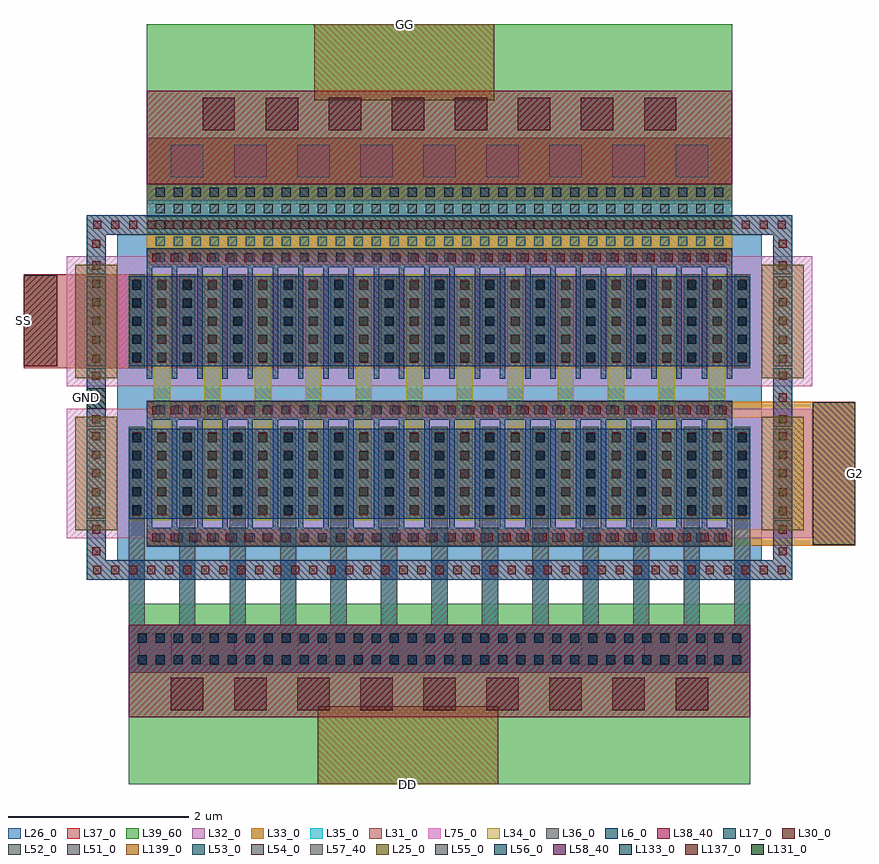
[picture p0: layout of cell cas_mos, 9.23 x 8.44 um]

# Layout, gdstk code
import gdstk
lib = gdstk.Library(unit=1e-6, precision=1e-09)
def R(c, l, rs):  # rectangles x0, y0, x1, y1
    for r in rs: c.add(gdstk.rectangle(r[:2], r[2:], *l))
def A(c, l, x, y, w, h, nx, ny, dx, dy):  # array of equal rectangles
    R(c, l, [(x+i*dx, y+j*dy, x+i*dx+w, y+j*dy+h) for i in range(nx) for j in range(ny)])
L6_0 = (6, 0)
L17_0 = (17, 0)
L25_0 = (25, 0)
L26_0 = (26, 0)
L30_0 = (30, 0)
L31_0 = (31, 0)
L32_0 = (32, 0)
L33_0 = (33, 0)
L34_0 = (34, 0)
L35_0 = (35, 0)
L36_0 = (36, 0)
L37_0 = (37, 0)
L38_40 = (38, 40)
L39_60 = (39, 60)
L51_0 = (51, 0)
L52_0 = (52, 0)
L53_0 = (53, 0)
L54_0 = (54, 0)
L55_0 = (55, 0)
L56_0 = (56, 0)
L57_40 = (57, 40)
L58_40 = (58, 40)
L75_0 = (75, 0)
L131_0 = (131, 0)
L133_0 = (133, 0)
L137_0 = (137, 0)
L139_0 = (139, 0)

nch_cdns_757981134650 = lib.new_cell('nch_CDNS_757981134650')
R(nch_cdns_757981134650, L6_0, [(-0.665,0,-0.455,1), (-0.195,0,0,1), (0,0,0.06,1), (0.06,0,6.5,1), (6.5,0,6.695,1), (6.955,0,7.165,1)])
A(nch_cdns_757981134650, L17_0, 0, -0.14, 0.06, 0.14, 24, 1, 0.28, 0)
A(nch_cdns_757981134650, L17_0, 0, 0, 0.06, 1, 24, 1, 0.28, 0)
A(nch_cdns_757981134650, L17_0, 0, 1, 0.06, 0.1, 24, 1, 0.28, 0)
R(nch_cdns_757981134650, L17_0, [(0,1.1,6.5,1.31)])
R(nch_cdns_757981134650, L25_0, [(-0.795,-0.13,-0.325,1.13), (6.825,-0.13,7.295,1.13)])
R(nch_cdns_757981134650, L26_0, [(-0.325,-0.34,6.825,1.34), (-0.325,0.95,6.825,1.46)])
A(nch_cdns_757981134650, L30_0, -0.605, 0.04, 0.09, 0.09, 1, 3, 0, 0.21)
A(nch_cdns_757981134650, L30_0, -0.155, 0.04, 0.09, 0.09, 25, 3, 0.28, 0.21)
A(nch_cdns_757981134650, L30_0, 7.015, 0.04, 0.09, 0.09, 1, 3, 0, 0.21)
A(nch_cdns_757981134650, L30_0, -0.155, 0.665, 0.09, 0.09, 25, 2, 0.28, 0.205)
A(nch_cdns_757981134650, L30_0, 0.06, 1.16, 0.09, 0.09, 19, 1, 0.205, 0)
A(nch_cdns_757981134650, L30_0, 3.95, 1.16, 0.09, 0.09, 13, 1, 0.2, 0)
R(nch_cdns_757981134650, L30_0, [(-0.605,0.665,-0.515,0.755), (7.015,0.665,7.105,0.755), (-0.605,0.87,-0.515,0.96), (7.015,0.87,7.105,0.96)])
A(nch_cdns_757981134650, L31_0, -0.155, -0.02, 0.09, 1.04, 25, 1, 0.28, 0)
R(nch_cdns_757981134650, L75_0, [(-0.885,-0.22,7.385,1.22)])
nch_cdns_757981134650.add(gdstk.FlexPath([(0,1.205),(6.5,1.205)], 0.09, ends="flush", simple_path=True, layer=31, datatype=0))  # L31_0
nch_cdns_757981134650.add(gdstk.FlexPath([(7.06,-0.02),(7.06,1.02)], 0.21, ends="flush", simple_path=True, layer=31, datatype=0))  # L31_0
nch_cdns_757981134650.add(gdstk.FlexPath([(-0.56,-0.02),(-0.56,1.02)], 0.21, ends="flush", simple_path=True, layer=31, datatype=0))  # L31_0
nch_cdns_757981134650.add(gdstk.Label('& SerialNumber 000000', (0,0), layer=63, texttype=63))
nch_cdns_757981134650.add(gdstk.Label('& Distributor TSMC', (0,0), layer=63, texttype=63))
nch_cdns_757981134650.add(gdstk.Label('& Metric 1', (0,0), layer=63, texttype=63))
nch_cdns_757981134650.add(gdstk.Label('& PDK TechNode "CRN65LP"', (0,0), layer=63, texttype=63))
nch_cdns_757981134650.add(gdstk.Label('& Product    tsmcN65_PDK', (0,0), layer=63, texttype=63))
nch_cdns_757981134650.add(gdstk.Label('& Vendor     Taiwan Semiconductor manufacturing Corp.', (0,0), layer=63, texttype=63))
nch_cdns_757981134650.add(gdstk.Label('[@instanceName]', (0.03,0.5), layer=127, texttype=0))
nch_cdns_757981134650.add(gdstk.Label('nch\n24.0/0.06\n', (0,0), layer=127, texttype=0))
nch_cdns_757981134650.add(gdstk.Label('B', (7.06,0.5), layer=127, texttype=0))
nch_cdns_757981134650.add(gdstk.Label('B', (-0.56,0.5), layer=127, texttype=0))
nch_cdns_757981134650.add(gdstk.Label('D', (0.17,0.5), layer=127, texttype=0))
nch_cdns_757981134650.add(gdstk.Label('S', (0.45,0.5), layer=127, texttype=0))
nch_cdns_757981134650.add(gdstk.Label('D', (0.73,0.5), layer=127, texttype=0))
nch_cdns_757981134650.add(gdstk.Label('S', (1.01,0.5), layer=127, texttype=0))
nch_cdns_757981134650.add(gdstk.Label('D', (1.29,0.5), layer=127, texttype=0))
nch_cdns_757981134650.add(gdstk.Label('S', (1.57,0.5), layer=127, texttype=0))
nch_cdns_757981134650.add(gdstk.Label('D', (1.85,0.5), layer=127, texttype=0))
nch_cdns_757981134650.add(gdstk.Label('S', (2.13,0.5), layer=127, texttype=0))
nch_cdns_757981134650.add(gdstk.Label('D', (2.41,0.5), layer=127, texttype=0))
nch_cdns_757981134650.add(gdstk.Label('S', (2.69,0.5), layer=127, texttype=0))
nch_cdns_757981134650.add(gdstk.Label('D', (2.97,0.5), layer=127, texttype=0))
nch_cdns_757981134650.add(gdstk.Label('S', (3.25,0.5), layer=127, texttype=0))
nch_cdns_757981134650.add(gdstk.Label('D', (3.53,0.5), layer=127, texttype=0))
nch_cdns_757981134650.add(gdstk.Label('S', (3.81,0.5), layer=127, texttype=0))
nch_cdns_757981134650.add(gdstk.Label('D', (4.09,0.5), layer=127, texttype=0))
nch_cdns_757981134650.add(gdstk.Label('S', (4.37,0.5), layer=127, texttype=0))
nch_cdns_757981134650.add(gdstk.Label('D', (4.65,0.5), layer=127, texttype=0))
nch_cdns_757981134650.add(gdstk.Label('S', (4.93,0.5), layer=127, texttype=0))
nch_cdns_757981134650.add(gdstk.Label('D', (5.21,0.5), layer=127, texttype=0))
nch_cdns_757981134650.add(gdstk.Label('S', (5.49,0.5), layer=127, texttype=0))
nch_cdns_757981134650.add(gdstk.Label('D', (5.77,0.5), layer=127, texttype=0))
nch_cdns_757981134650.add(gdstk.Label('S', (6.05,0.5), layer=127, texttype=0))
nch_cdns_757981134650.add(gdstk.Label('D', (6.33,0.5), layer=127, texttype=0))
nch_cdns_757981134650.add(gdstk.Label('S', (6.61,0.5), layer=127, texttype=0))
nch_cdns_757981134650.add(gdstk.Label('S', (-0.11,0.5), layer=127, texttype=0))

nch_cdns_757981134651 = lib.new_cell('nch_CDNS_757981134651')
R(nch_cdns_757981134651, L6_0, [(-0.665,0,-0.455,1), (-0.195,0,0,1), (0,0,0.06,1), (0.06,0,6.5,1), (6.5,0,6.695,1), (6.955,0,7.165,1)])
A(nch_cdns_757981134651, L17_0, 0, -0.1, 0.06, 0.1, 24, 2, 0.28, 1.1)
A(nch_cdns_757981134651, L17_0, 0, 0, 0.06, 1, 24, 1, 0.28, 0)
R(nch_cdns_757981134651, L17_0, [(0,-0.31,6.5,-0.1), (0,1.1,6.5,1.31)])
R(nch_cdns_757981134651, L25_0, [(-0.795,-0.13,-0.325,1.13), (6.825,-0.13,7.295,1.13)])
R(nch_cdns_757981134651, L26_0, [(-0.325,-0.46,6.825,0.05), (-0.325,-0.34,6.825,1.34), (-0.325,0.95,6.825,1.46)])
A(nch_cdns_757981134651, L30_0, 0.06, -0.25, 0.09, 0.09, 19, 2, 0.205, 1.41)
A(nch_cdns_757981134651, L30_0, 3.95, -0.25, 0.09, 0.09, 13, 2, 0.2, 1.41)
A(nch_cdns_757981134651, L30_0, -0.605, 0.04, 0.09, 0.09, 1, 3, 0, 0.21)
A(nch_cdns_757981134651, L30_0, -0.155, 0.04, 0.09, 0.09, 25, 3, 0.28, 0.21)
A(nch_cdns_757981134651, L30_0, 7.015, 0.04, 0.09, 0.09, 1, 3, 0, 0.21)
A(nch_cdns_757981134651, L30_0, -0.155, 0.665, 0.09, 0.09, 25, 2, 0.28, 0.205)
R(nch_cdns_757981134651, L30_0, [(-0.605,0.665,-0.515,0.755), (7.015,0.665,7.105,0.755), (-0.605,0.87,-0.515,0.96), (7.015,0.87,7.105,0.96)])
A(nch_cdns_757981134651, L31_0, -0.155, -0.02, 0.09, 1.04, 25, 1, 0.28, 0)
R(nch_cdns_757981134651, L75_0, [(-0.885,-0.22,7.385,1.22)])
nch_cdns_757981134651.add(gdstk.FlexPath([(0,-0.205),(6.5,-0.205)], 0.09, ends="flush", simple_path=True, layer=31, datatype=0))  # L31_0
nch_cdns_757981134651.add(gdstk.FlexPath([(0,1.205),(6.5,1.205)], 0.09, ends="flush", simple_path=True, layer=31, datatype=0))  # L31_0
nch_cdns_757981134651.add(gdstk.FlexPath([(7.06,-0.02),(7.06,1.02)], 0.21, ends="flush", simple_path=True, layer=31, datatype=0))  # L31_0
nch_cdns_757981134651.add(gdstk.FlexPath([(-0.56,-0.02),(-0.56,1.02)], 0.21, ends="flush", simple_path=True, layer=31, datatype=0))  # L31_0
nch_cdns_757981134651.add(gdstk.Label('& SerialNumber 000000', (0,0), layer=63, texttype=63))
nch_cdns_757981134651.add(gdstk.Label('& Distributor TSMC', (0,0), layer=63, texttype=63))
nch_cdns_757981134651.add(gdstk.Label('& Metric 1', (0,0), layer=63, texttype=63))
nch_cdns_757981134651.add(gdstk.Label('& PDK TechNode "CRN65LP"', (0,0), layer=63, texttype=63))
nch_cdns_757981134651.add(gdstk.Label('& Product    tsmcN65_PDK', (0,0), layer=63, texttype=63))
nch_cdns_757981134651.add(gdstk.Label('& Vendor     Taiwan Semiconductor manufacturing Corp.', (0,0), layer=63, texttype=63))
nch_cdns_757981134651.add(gdstk.Label('[@instanceName]', (0.03,0.5), layer=127, texttype=0))
nch_cdns_757981134651.add(gdstk.Label('nch\n24.0/0.06\n', (0,0), layer=127, texttype=0))
nch_cdns_757981134651.add(gdstk.Label('B', (7.06,0.5), layer=127, texttype=0))
nch_cdns_757981134651.add(gdstk.Label('B', (-0.56,0.5), layer=127, texttype=0))
nch_cdns_757981134651.add(gdstk.Label('S', (0.17,0.5), layer=127, texttype=0))
nch_cdns_757981134651.add(gdstk.Label('D', (0.45,0.5), layer=127, texttype=0))
nch_cdns_757981134651.add(gdstk.Label('S', (0.73,0.5), layer=127, texttype=0))
nch_cdns_757981134651.add(gdstk.Label('D', (1.01,0.5), layer=127, texttype=0))
nch_cdns_757981134651.add(gdstk.Label('S', (1.29,0.5), layer=127, texttype=0))
nch_cdns_757981134651.add(gdstk.Label('D', (1.57,0.5), layer=127, texttype=0))
nch_cdns_757981134651.add(gdstk.Label('S', (1.85,0.5), layer=127, texttype=0))
nch_cdns_757981134651.add(gdstk.Label('D', (2.13,0.5), layer=127, texttype=0))
nch_cdns_757981134651.add(gdstk.Label('S', (2.41,0.5), layer=127, texttype=0))
nch_cdns_757981134651.add(gdstk.Label('D', (2.69,0.5), layer=127, texttype=0))
nch_cdns_757981134651.add(gdstk.Label('S', (2.97,0.5), layer=127, texttype=0))
nch_cdns_757981134651.add(gdstk.Label('D', (3.25,0.5), layer=127, texttype=0))
nch_cdns_757981134651.add(gdstk.Label('S', (3.53,0.5), layer=127, texttype=0))
nch_cdns_757981134651.add(gdstk.Label('D', (3.81,0.5), layer=127, texttype=0))
nch_cdns_757981134651.add(gdstk.Label('S', (4.09,0.5), layer=127, texttype=0))
nch_cdns_757981134651.add(gdstk.Label('D', (4.37,0.5), layer=127, texttype=0))
nch_cdns_757981134651.add(gdstk.Label('S', (4.65,0.5), layer=127, texttype=0))
nch_cdns_757981134651.add(gdstk.Label('D', (4.93,0.5), layer=127, texttype=0))
nch_cdns_757981134651.add(gdstk.Label('S', (5.21,0.5), layer=127, texttype=0))
nch_cdns_757981134651.add(gdstk.Label('D', (5.49,0.5), layer=127, texttype=0))
nch_cdns_757981134651.add(gdstk.Label('S', (5.77,0.5), layer=127, texttype=0))
nch_cdns_757981134651.add(gdstk.Label('D', (6.05,0.5), layer=127, texttype=0))
nch_cdns_757981134651.add(gdstk.Label('S', (6.33,0.5), layer=127, texttype=0))
nch_cdns_757981134651.add(gdstk.Label('D', (6.61,0.5), layer=127, texttype=0))
nch_cdns_757981134651.add(gdstk.Label('D', (-0.11,0.5), layer=127, texttype=0))

m3_m2_cdns_757981134650 = lib.new_cell('M3_M2_CDNS_757981134650')
R(m3_m2_cdns_757981134650, L32_0, [(-3.25,-0.09,3.25,0.09)])
R(m3_m2_cdns_757981134650, L33_0, [(-3.25,-0.09,3.25,0.09)])
A(m3_m2_cdns_757981134650, L52_0, -3.15, -0.05, 0.1, 0.1, 32, 1, 0.2, 0)

m2_m1_cdns_757981134651 = lib.new_cell('M2_M1_CDNS_757981134651')
R(m2_m1_cdns_757981134651, L31_0, [(-3.25,-0.09,3.25,0.09)])
R(m2_m1_cdns_757981134651, L32_0, [(-3.25,-0.09,3.25,0.09)])
A(m2_m1_cdns_757981134651, L51_0, -3.15, -0.05, 0.1, 0.1, 32, 1, 0.2, 0)

m6_m5_cdns_757981134652 = lib.new_cell('M6_M5_CDNS_757981134652')
R(m6_m5_cdns_757981134652, L35_0, [(-3.45,-0.265,3.45,0.265)])
R(m6_m5_cdns_757981134652, L36_0, [(-3.45,-0.265,3.45,0.265)])
A(m6_m5_cdns_757981134652, L55_0, -3.35, -0.17, 0.1, 0.1, 34, 2, 0.2, 0.24)

m7_m6_cdns_757981134653 = lib.new_cell('M7_M6_CDNS_757981134653')
R(m7_m6_cdns_757981134653, L36_0, [(-0.09,-0.52,0.09,0.52)])
R(m7_m6_cdns_757981134653, L37_0, [(-0.09,-0.52,0.09,0.52)])
A(m7_m6_cdns_757981134653, L56_0, -0.05, -0.45, 0.1, 0.1, 1, 5, 0, 0.2)

m8_m7_cdns_757981134654 = lib.new_cell('M8_M7_CDNS_757981134654')
R(m8_m7_cdns_757981134654, L37_0, [(-3.25,-0.26,3.25,0.26)])
R(m8_m7_cdns_757981134654, L38_40, [(-3.25,-0.26,3.25,0.26)])
A(m8_m7_cdns_757981134654, L57_40, -2.98, -0.18, 0.36, 0.36, 9, 1, 0.7, 0)

m6_m5_cdns_757981134655 = lib.new_cell('M6_M5_CDNS_757981134655')
R(m6_m5_cdns_757981134655, L35_0, [(-3.25,-0.09,3.25,0.09)])
R(m6_m5_cdns_757981134655, L36_0, [(-3.25,-0.09,3.25,0.09)])
A(m6_m5_cdns_757981134655, L55_0, -3.15, -0.05, 0.1, 0.1, 32, 1, 0.2, 0)

m4_m3_cdns_757981134656 = lib.new_cell('M4_M3_CDNS_757981134656')
R(m4_m3_cdns_757981134656, L33_0, [(-3.25,-0.09,3.25,0.09)])
R(m4_m3_cdns_757981134656, L34_0, [(-3.25,-0.09,3.25,0.09)])
A(m4_m3_cdns_757981134656, L53_0, -3.15, -0.05, 0.1, 0.1, 32, 1, 0.2, 0)

m9_m8_cdns_757981134657 = lib.new_cell('M9_M8_CDNS_757981134657')
R(m9_m8_cdns_757981134657, L38_40, [(-3.25,-0.26,3.25,0.26)])
R(m9_m8_cdns_757981134657, L39_60, [(-3.25,-1,3.25,1)])
A(m9_m8_cdns_757981134657, L58_40, -2.63, -0.18, 0.36, 0.36, 8, 1, 0.7, 0)

m1_od_cdns_757981134658 = lib.new_cell('M1_OD_CDNS_757981134658')
R(m1_od_cdns_757981134658, L6_0, [(-0.105,-0.325,0.105,0.325)])
A(m1_od_cdns_757981134658, L30_0, -0.045, -0.285, 0.09, 0.09, 1, 3, 0, 0.24)
R(m1_od_cdns_757981134658, L31_0, [(-0.105,-0.325,0.105,0.325)])

m7_m6_cdns_757981134659 = lib.new_cell('M7_M6_CDNS_757981134659')
R(m7_m6_cdns_757981134659, L36_0, [(-3.45,-0.265,3.45,0.265)])
R(m7_m6_cdns_757981134659, L37_0, [(-3.45,-0.265,3.45,0.265)])
A(m7_m6_cdns_757981134659, L56_0, -3.35, -0.17, 0.1, 0.1, 34, 2, 0.2, 0.24)

m1_od_cdns_7579811346510 = lib.new_cell('M1_OD_CDNS_7579811346510')
R(m1_od_cdns_7579811346510, L6_0, [(-0.105,-0.22,0.105,0.22)])
R(m1_od_cdns_7579811346510, L30_0, [(-0.045,-0.165,0.045,-0.075), (-0.045,0.075,0.045,0.165)])
R(m1_od_cdns_7579811346510, L31_0, [(-0.105,-0.22,0.105,0.22)])

m9_m8_cdns_7579811346511 = lib.new_cell('M9_M8_CDNS_7579811346511')
R(m9_m8_cdns_7579811346511, L38_40, [(-3.45,-0.26,3.45,0.26)])
R(m9_m8_cdns_7579811346511, L39_60, [(-3.45,-1,3.45,1)])
A(m9_m8_cdns_7579811346511, L58_40, -2.98, -0.18, 0.36, 0.36, 9, 1, 0.7, 0)

m5_m4_cdns_7579811346512 = lib.new_cell('M5_M4_CDNS_7579811346512')
R(m5_m4_cdns_7579811346512, L34_0, [(-3.25,-0.09,3.25,0.09)])
R(m5_m4_cdns_7579811346512, L35_0, [(-3.25,-0.09,3.25,0.09)])
A(m5_m4_cdns_7579811346512, L54_0, -3.15, -0.05, 0.1, 0.1, 32, 1, 0.2, 0)

m7_m6_cdns_7579811346513 = lib.new_cell('M7_M6_CDNS_7579811346513')
R(m7_m6_cdns_7579811346513, L36_0, [(-3.25,-0.09,3.25,0.09)])
R(m7_m6_cdns_7579811346513, L37_0, [(-3.25,-0.09,3.25,0.09)])
A(m7_m6_cdns_7579811346513, L56_0, -3.15, -0.05, 0.1, 0.1, 32, 1, 0.2, 0)

m8_m7_cdns_7579811346514 = lib.new_cell('M8_M7_CDNS_7579811346514')
R(m8_m7_cdns_7579811346514, L37_0, [(-3.45,-0.265,3.45,0.265)])
R(m8_m7_cdns_7579811346514, L38_40, [(-3.45,-0.265,3.45,0.265)])
A(m8_m7_cdns_7579811346514, L57_40, -3.33, -0.18, 0.36, 0.36, 10, 1, 0.7, 0)

m1_od_cdns_7579811346515 = lib.new_cell('M1_OD_CDNS_7579811346515')
R(m1_od_cdns_7579811346515, L6_0, [(-3.915,-0.11,3.915,0.11)])
A(m1_od_cdns_7579811346515, L30_0, -3.845, -0.045, 0.09, 0.09, 39, 1, 0.2, 0)
R(m1_od_cdns_7579811346515, L31_0, [(-3.915,-0.11,3.915,0.11)])

m6_m5_cdns_7579811346516 = lib.new_cell('M6_M5_CDNS_7579811346516')
R(m6_m5_cdns_7579811346516, L35_0, [(-0.09,-0.52,0.09,0.52)])
R(m6_m5_cdns_7579811346516, L36_0, [(-0.09,-0.52,0.09,0.52)])
A(m6_m5_cdns_7579811346516, L55_0, -0.05, -0.45, 0.1, 0.1, 1, 5, 0, 0.2)

m5_m4_cdns_7579811346517 = lib.new_cell('M5_M4_CDNS_7579811346517')
R(m5_m4_cdns_7579811346517, L34_0, [(-0.09,-0.52,0.09,0.52)])
R(m5_m4_cdns_7579811346517, L35_0, [(-0.09,-0.52,0.09,0.52)])
A(m5_m4_cdns_7579811346517, L54_0, -0.05, -0.45, 0.1, 0.1, 1, 5, 0, 0.2)

m4_m3_cdns_7579811346518 = lib.new_cell('M4_M3_CDNS_7579811346518')
R(m4_m3_cdns_7579811346518, L33_0, [(-0.09,-0.52,0.09,0.52)])
R(m4_m3_cdns_7579811346518, L34_0, [(-0.09,-0.52,0.09,0.52)])
A(m4_m3_cdns_7579811346518, L53_0, -0.05, -0.45, 0.1, 0.1, 1, 5, 0, 0.2)

m3_m2_cdns_7579811346519 = lib.new_cell('M3_M2_CDNS_7579811346519')
R(m3_m2_cdns_7579811346519, L32_0, [(-0.09,-0.52,0.09,0.52)])
R(m3_m2_cdns_7579811346519, L33_0, [(-0.09,-0.52,0.09,0.52)])
A(m3_m2_cdns_7579811346519, L52_0, -0.05, -0.45, 0.1, 0.1, 1, 5, 0, 0.2)

m2_m1_cdns_7579811346520 = lib.new_cell('M2_M1_CDNS_7579811346520')
R(m2_m1_cdns_7579811346520, L31_0, [(-0.09,-0.52,0.09,0.52)])
R(m2_m1_cdns_7579811346520, L32_0, [(-0.09,-0.52,0.09,0.52)])
A(m2_m1_cdns_7579811346520, L51_0, -0.05, -0.45, 0.1, 0.1, 1, 5, 0, 0.2)

cas_mos = lib.new_cell('cas_mos')
R(cas_mos, L33_0, [(7.855,2.645,8.545,2.825), (8.318,2.645,9.23,4.245), (7.855,4.065,8.545,4.245)])
A(cas_mos, L34_0, 1.445, 3.915, 0.18, 0.7, 12, 1, 0.56, 0)
A(cas_mos, L35_0, 1.165, 1.765, 0.18, 1.16, 13, 1, 0.56, 0)
A(cas_mos, L35_0, 1.445, 3.915, 0.18, 0.7, 12, 1, 0.56, 0)
A(cas_mos, L36_0, 1.165, 1.765, 0.18, 1.16, 13, 1, 0.56, 0)
A(cas_mos, L37_0, 1.165, 1.765, 0.18, 1.16, 13, 1, 0.56, 0)
R(cas_mos, L37_0, [(0,4.615,8.065,5.655)])
R(cas_mos, L131_0, [(0.7,4.165,0.91,4.395)])
R(cas_mos, L133_0, [(8.76,2.655,9.23,4.235)])
R(cas_mos, L137_0, [(0,4.635,0.37,5.645)])
R(cas_mos, L139_0, [(3.265,0,5.265,0.865), (3.225,7.59,5.225,8.43)])
cas_mos.add(gdstk.Reference(nch_cdns_757981134650, (1.365,4.635)))
cas_mos.add(gdstk.Reference(nch_cdns_757981134651, (1.365,2.945)))
cas_mos.add(gdstk.Reference(m3_m2_cdns_757981134650, (4.615,5.845)))
cas_mos.add(gdstk.Reference(m3_m2_cdns_757981134650, (4.615,2.735)))
cas_mos.add(gdstk.Reference(m3_m2_cdns_757981134650, (4.615,4.155)))
cas_mos.add(gdstk.Reference(m2_m1_cdns_757981134651, (4.615,5.845)))
cas_mos.add(gdstk.Reference(m2_m1_cdns_757981134651, (4.615,2.735)))
cas_mos.add(gdstk.Reference(m2_m1_cdns_757981134651, (4.615,4.155)))
cas_mos.add(gdstk.Reference(m6_m5_cdns_757981134652, (4.615,1.5)))
cas_mos.add(gdstk.Reference(m7_m6_cdns_757981134653, (7.415,3.445)))
cas_mos.add(gdstk.Reference(m7_m6_cdns_757981134653, (6.855,3.445)))
cas_mos.add(gdstk.Reference(m7_m6_cdns_757981134653, (6.295,3.445)))
cas_mos.add(gdstk.Reference(m7_m6_cdns_757981134653, (5.735,3.445)))
cas_mos.add(gdstk.Reference(m7_m6_cdns_757981134653, (5.175,3.445)))
cas_mos.add(gdstk.Reference(m7_m6_cdns_757981134653, (4.615,3.445)))
cas_mos.add(gdstk.Reference(m7_m6_cdns_757981134653, (4.055,3.445)))
cas_mos.add(gdstk.Reference(m7_m6_cdns_757981134653, (3.495,3.445)))
cas_mos.add(gdstk.Reference(m7_m6_cdns_757981134653, (2.935,3.445)))
cas_mos.add(gdstk.Reference(m7_m6_cdns_757981134653, (2.375,3.445)))
cas_mos.add(gdstk.Reference(m7_m6_cdns_757981134653, (1.815,3.445)))
cas_mos.add(gdstk.Reference(m7_m6_cdns_757981134653, (7.975,3.445)))
cas_mos.add(gdstk.Reference(m7_m6_cdns_757981134653, (1.255,3.445)))
cas_mos.add(gdstk.Reference(m7_m6_cdns_757981134653, (7.975,5.135)))
cas_mos.add(gdstk.Reference(m7_m6_cdns_757981134653, (5.735,5.135)))
cas_mos.add(gdstk.Reference(m7_m6_cdns_757981134653, (6.295,5.135)))
cas_mos.add(gdstk.Reference(m7_m6_cdns_757981134653, (6.855,5.135)))
cas_mos.add(gdstk.Reference(m7_m6_cdns_757981134653, (7.415,5.135)))
cas_mos.add(gdstk.Reference(m7_m6_cdns_757981134653, (5.175,5.135)))
cas_mos.add(gdstk.Reference(m7_m6_cdns_757981134653, (4.615,5.135)))
cas_mos.add(gdstk.Reference(m7_m6_cdns_757981134653, (4.055,5.135)))
cas_mos.add(gdstk.Reference(m7_m6_cdns_757981134653, (3.495,5.135)))
cas_mos.add(gdstk.Reference(m7_m6_cdns_757981134653, (2.935,5.135)))
cas_mos.add(gdstk.Reference(m7_m6_cdns_757981134653, (2.375,5.135)))
cas_mos.add(gdstk.Reference(m7_m6_cdns_757981134653, (1.815,5.135)))
cas_mos.add(gdstk.Reference(m7_m6_cdns_757981134653, (1.255,5.135)))
cas_mos.add(gdstk.Reference(m8_m7_cdns_757981134654, (4.615,6.915)))
cas_mos.add(gdstk.Reference(m6_m5_cdns_757981134655, (4.615,6.385)))
cas_mos.add(gdstk.Reference(m4_m3_cdns_757981134656, (4.615,6.025)))
cas_mos.add(gdstk.Reference(m9_m8_cdns_757981134657, (4.615,7.435)))
cas_mos.add(gdstk.Reference(m1_od_cdns_757981134658, (8.425,4.29)))
cas_mos.add(gdstk.Reference(m1_od_cdns_757981134658, (0.805,4.29)))
cas_mos.add(gdstk.Reference(m7_m6_cdns_757981134659, (4.615,1.5)))
cas_mos.add(gdstk.Reference(m1_od_cdns_7579811346510, (8.425,2.705)))
cas_mos.add(gdstk.Reference(m1_od_cdns_7579811346510, (0.805,2.705)))
cas_mos.add(gdstk.Reference(m1_od_cdns_7579811346510, (0.805,5.875)))
cas_mos.add(gdstk.Reference(m1_od_cdns_7579811346510, (8.425,5.875)))
cas_mos.add(gdstk.Reference(m9_m8_cdns_7579811346511, (4.615,1)))
cas_mos.add(gdstk.Reference(m5_m4_cdns_7579811346512, (4.615,6.205)))
cas_mos.add(gdstk.Reference(m7_m6_cdns_7579811346513, (4.615,6.565)))
cas_mos.add(gdstk.Reference(m8_m7_cdns_7579811346514, (4.615,1.5)))
cas_mos.add(gdstk.Reference(m1_od_cdns_7579811346515, (4.615,6.205)))
cas_mos.add(gdstk.Reference(m1_od_cdns_7579811346515, (4.615,2.375)))
cas_mos.add(gdstk.Reference(m6_m5_cdns_7579811346516, (7.415,3.445)))
cas_mos.add(gdstk.Reference(m6_m5_cdns_7579811346516, (6.855,3.445)))
cas_mos.add(gdstk.Reference(m6_m5_cdns_7579811346516, (6.295,3.445)))
cas_mos.add(gdstk.Reference(m6_m5_cdns_7579811346516, (5.735,3.445)))
cas_mos.add(gdstk.Reference(m6_m5_cdns_7579811346516, (5.175,3.445)))
cas_mos.add(gdstk.Reference(m6_m5_cdns_7579811346516, (4.615,3.445)))
cas_mos.add(gdstk.Reference(m6_m5_cdns_7579811346516, (4.055,3.445)))
cas_mos.add(gdstk.Reference(m6_m5_cdns_7579811346516, (3.495,3.445)))
cas_mos.add(gdstk.Reference(m6_m5_cdns_7579811346516, (2.935,3.445)))
cas_mos.add(gdstk.Reference(m6_m5_cdns_7579811346516, (2.375,3.445)))
cas_mos.add(gdstk.Reference(m6_m5_cdns_7579811346516, (1.815,3.445)))
cas_mos.add(gdstk.Reference(m6_m5_cdns_7579811346516, (7.975,3.445)))
cas_mos.add(gdstk.Reference(m6_m5_cdns_7579811346516, (1.255,3.445)))
cas_mos.add(gdstk.Reference(m6_m5_cdns_7579811346516, (7.975,5.135)))
cas_mos.add(gdstk.Reference(m6_m5_cdns_7579811346516, (5.735,5.135)))
cas_mos.add(gdstk.Reference(m6_m5_cdns_7579811346516, (6.295,5.135)))
cas_mos.add(gdstk.Reference(m6_m5_cdns_7579811346516, (6.855,5.135)))
cas_mos.add(gdstk.Reference(m6_m5_cdns_7579811346516, (7.415,5.135)))
cas_mos.add(gdstk.Reference(m6_m5_cdns_7579811346516, (5.175,5.135)))
cas_mos.add(gdstk.Reference(m6_m5_cdns_7579811346516, (4.615,5.135)))
cas_mos.add(gdstk.Reference(m6_m5_cdns_7579811346516, (4.055,5.135)))
cas_mos.add(gdstk.Reference(m6_m5_cdns_7579811346516, (3.495,5.135)))
cas_mos.add(gdstk.Reference(m6_m5_cdns_7579811346516, (2.935,5.135)))
cas_mos.add(gdstk.Reference(m6_m5_cdns_7579811346516, (2.375,5.135)))
cas_mos.add(gdstk.Reference(m6_m5_cdns_7579811346516, (1.815,5.135)))
cas_mos.add(gdstk.Reference(m6_m5_cdns_7579811346516, (1.255,5.135)))
cas_mos.add(gdstk.Reference(m5_m4_cdns_7579811346517, (2.375,3.445)))
cas_mos.add(gdstk.Reference(m5_m4_cdns_7579811346517, (2.935,3.445)))
cas_mos.add(gdstk.Reference(m5_m4_cdns_7579811346517, (3.495,3.445)))
cas_mos.add(gdstk.Reference(m5_m4_cdns_7579811346517, (4.055,3.445)))
cas_mos.add(gdstk.Reference(m5_m4_cdns_7579811346517, (4.615,3.445)))
cas_mos.add(gdstk.Reference(m5_m4_cdns_7579811346517, (5.175,3.445)))
cas_mos.add(gdstk.Reference(m5_m4_cdns_7579811346517, (7.415,3.445)))
cas_mos.add(gdstk.Reference(m5_m4_cdns_7579811346517, (6.855,3.445)))
cas_mos.add(gdstk.Reference(m5_m4_cdns_7579811346517, (6.295,3.445)))
cas_mos.add(gdstk.Reference(m5_m4_cdns_7579811346517, (5.735,3.445)))
cas_mos.add(gdstk.Reference(m5_m4_cdns_7579811346517, (1.535,3.445)))
cas_mos.add(gdstk.Reference(m5_m4_cdns_7579811346517, (2.095,3.445)))
cas_mos.add(gdstk.Reference(m5_m4_cdns_7579811346517, (3.215,3.445)))
cas_mos.add(gdstk.Reference(m5_m4_cdns_7579811346517, (2.655,3.445)))
cas_mos.add(gdstk.Reference(m5_m4_cdns_7579811346517, (5.455,3.445)))
cas_mos.add(gdstk.Reference(m5_m4_cdns_7579811346517, (4.895,3.445)))
cas_mos.add(gdstk.Reference(m5_m4_cdns_7579811346517, (4.335,3.445)))
cas_mos.add(gdstk.Reference(m5_m4_cdns_7579811346517, (3.775,3.445)))
cas_mos.add(gdstk.Reference(m5_m4_cdns_7579811346517, (7.135,3.445)))
cas_mos.add(gdstk.Reference(m5_m4_cdns_7579811346517, (6.575,3.445)))
cas_mos.add(gdstk.Reference(m5_m4_cdns_7579811346517, (6.015,3.445)))
cas_mos.add(gdstk.Reference(m5_m4_cdns_7579811346517, (1.815,3.445)))
cas_mos.add(gdstk.Reference(m5_m4_cdns_7579811346517, (7.975,3.445)))
cas_mos.add(gdstk.Reference(m5_m4_cdns_7579811346517, (7.695,3.445)))
cas_mos.add(gdstk.Reference(m5_m4_cdns_7579811346517, (1.255,3.445)))
cas_mos.add(gdstk.Reference(m5_m4_cdns_7579811346517, (6.015,5.135)))
cas_mos.add(gdstk.Reference(m5_m4_cdns_7579811346517, (6.575,5.135)))
cas_mos.add(gdstk.Reference(m5_m4_cdns_7579811346517, (7.135,5.135)))
cas_mos.add(gdstk.Reference(m5_m4_cdns_7579811346517, (7.695,5.135)))
cas_mos.add(gdstk.Reference(m5_m4_cdns_7579811346517, (3.775,5.135)))
cas_mos.add(gdstk.Reference(m5_m4_cdns_7579811346517, (4.335,5.135)))
cas_mos.add(gdstk.Reference(m5_m4_cdns_7579811346517, (4.895,5.135)))
cas_mos.add(gdstk.Reference(m5_m4_cdns_7579811346517, (5.455,5.135)))
cas_mos.add(gdstk.Reference(m5_m4_cdns_7579811346517, (2.655,5.135)))
cas_mos.add(gdstk.Reference(m5_m4_cdns_7579811346517, (3.215,5.135)))
cas_mos.add(gdstk.Reference(m5_m4_cdns_7579811346517, (2.095,5.135)))
cas_mos.add(gdstk.Reference(m5_m4_cdns_7579811346517, (1.535,5.135)))
cas_mos.add(gdstk.Reference(m5_m4_cdns_7579811346517, (7.975,5.135)))
cas_mos.add(gdstk.Reference(m5_m4_cdns_7579811346517, (5.735,5.135)))
cas_mos.add(gdstk.Reference(m5_m4_cdns_7579811346517, (6.295,5.135)))
cas_mos.add(gdstk.Reference(m5_m4_cdns_7579811346517, (6.855,5.135)))
cas_mos.add(gdstk.Reference(m5_m4_cdns_7579811346517, (7.415,5.135)))
cas_mos.add(gdstk.Reference(m5_m4_cdns_7579811346517, (5.175,5.135)))
cas_mos.add(gdstk.Reference(m5_m4_cdns_7579811346517, (4.615,5.135)))
cas_mos.add(gdstk.Reference(m5_m4_cdns_7579811346517, (4.055,5.135)))
cas_mos.add(gdstk.Reference(m5_m4_cdns_7579811346517, (3.495,5.135)))
cas_mos.add(gdstk.Reference(m5_m4_cdns_7579811346517, (2.935,5.135)))
cas_mos.add(gdstk.Reference(m5_m4_cdns_7579811346517, (2.375,5.135)))
cas_mos.add(gdstk.Reference(m5_m4_cdns_7579811346517, (1.815,5.135)))
cas_mos.add(gdstk.Reference(m5_m4_cdns_7579811346517, (1.255,5.135)))
cas_mos.add(gdstk.Reference(m4_m3_cdns_7579811346518, (2.375,3.445)))
cas_mos.add(gdstk.Reference(m4_m3_cdns_7579811346518, (2.935,3.445)))
cas_mos.add(gdstk.Reference(m4_m3_cdns_7579811346518, (3.495,3.445)))
cas_mos.add(gdstk.Reference(m4_m3_cdns_7579811346518, (4.055,3.445)))
cas_mos.add(gdstk.Reference(m4_m3_cdns_7579811346518, (4.615,3.445)))
cas_mos.add(gdstk.Reference(m4_m3_cdns_7579811346518, (5.175,3.445)))
cas_mos.add(gdstk.Reference(m4_m3_cdns_7579811346518, (7.415,3.445)))
cas_mos.add(gdstk.Reference(m4_m3_cdns_7579811346518, (6.855,3.445)))
cas_mos.add(gdstk.Reference(m4_m3_cdns_7579811346518, (6.295,3.445)))
cas_mos.add(gdstk.Reference(m4_m3_cdns_7579811346518, (5.735,3.445)))
cas_mos.add(gdstk.Reference(m4_m3_cdns_7579811346518, (1.535,3.445)))
cas_mos.add(gdstk.Reference(m4_m3_cdns_7579811346518, (2.095,3.445)))
cas_mos.add(gdstk.Reference(m4_m3_cdns_7579811346518, (3.215,3.445)))
cas_mos.add(gdstk.Reference(m4_m3_cdns_7579811346518, (2.655,3.445)))
cas_mos.add(gdstk.Reference(m4_m3_cdns_7579811346518, (5.455,3.445)))
cas_mos.add(gdstk.Reference(m4_m3_cdns_7579811346518, (4.895,3.445)))
cas_mos.add(gdstk.Reference(m4_m3_cdns_7579811346518, (4.335,3.445)))
cas_mos.add(gdstk.Reference(m4_m3_cdns_7579811346518, (3.775,3.445)))
cas_mos.add(gdstk.Reference(m4_m3_cdns_7579811346518, (7.135,3.445)))
cas_mos.add(gdstk.Reference(m4_m3_cdns_7579811346518, (6.575,3.445)))
cas_mos.add(gdstk.Reference(m4_m3_cdns_7579811346518, (6.015,3.445)))
cas_mos.add(gdstk.Reference(m4_m3_cdns_7579811346518, (1.815,3.445)))
cas_mos.add(gdstk.Reference(m4_m3_cdns_7579811346518, (7.975,3.445)))
cas_mos.add(gdstk.Reference(m4_m3_cdns_7579811346518, (7.695,3.445)))
cas_mos.add(gdstk.Reference(m4_m3_cdns_7579811346518, (1.255,3.445)))
cas_mos.add(gdstk.Reference(m4_m3_cdns_7579811346518, (6.015,5.135)))
cas_mos.add(gdstk.Reference(m4_m3_cdns_7579811346518, (6.575,5.135)))
cas_mos.add(gdstk.Reference(m4_m3_cdns_7579811346518, (7.135,5.135)))
cas_mos.add(gdstk.Reference(m4_m3_cdns_7579811346518, (7.695,5.135)))
cas_mos.add(gdstk.Reference(m4_m3_cdns_7579811346518, (3.775,5.135)))
cas_mos.add(gdstk.Reference(m4_m3_cdns_7579811346518, (4.335,5.135)))
cas_mos.add(gdstk.Reference(m4_m3_cdns_7579811346518, (4.895,5.135)))
cas_mos.add(gdstk.Reference(m4_m3_cdns_7579811346518, (5.455,5.135)))
cas_mos.add(gdstk.Reference(m4_m3_cdns_7579811346518, (2.655,5.135)))
cas_mos.add(gdstk.Reference(m4_m3_cdns_7579811346518, (3.215,5.135)))
cas_mos.add(gdstk.Reference(m4_m3_cdns_7579811346518, (2.095,5.135)))
cas_mos.add(gdstk.Reference(m4_m3_cdns_7579811346518, (1.535,5.135)))
cas_mos.add(gdstk.Reference(m4_m3_cdns_7579811346518, (7.975,5.135)))
cas_mos.add(gdstk.Reference(m4_m3_cdns_7579811346518, (5.735,5.135)))
cas_mos.add(gdstk.Reference(m4_m3_cdns_7579811346518, (6.295,5.135)))
cas_mos.add(gdstk.Reference(m4_m3_cdns_7579811346518, (6.855,5.135)))
cas_mos.add(gdstk.Reference(m4_m3_cdns_7579811346518, (7.415,5.135)))
cas_mos.add(gdstk.Reference(m4_m3_cdns_7579811346518, (5.175,5.135)))
cas_mos.add(gdstk.Reference(m4_m3_cdns_7579811346518, (4.615,5.135)))
cas_mos.add(gdstk.Reference(m4_m3_cdns_7579811346518, (4.055,5.135)))
cas_mos.add(gdstk.Reference(m4_m3_cdns_7579811346518, (3.495,5.135)))
cas_mos.add(gdstk.Reference(m4_m3_cdns_7579811346518, (2.935,5.135)))
cas_mos.add(gdstk.Reference(m4_m3_cdns_7579811346518, (2.375,5.135)))
cas_mos.add(gdstk.Reference(m4_m3_cdns_7579811346518, (1.815,5.135)))
cas_mos.add(gdstk.Reference(m4_m3_cdns_7579811346518, (1.255,5.135)))
cas_mos.add(gdstk.Reference(m3_m2_cdns_7579811346519, (2.375,3.445)))
cas_mos.add(gdstk.Reference(m3_m2_cdns_7579811346519, (2.935,3.445)))
cas_mos.add(gdstk.Reference(m3_m2_cdns_7579811346519, (3.495,3.445)))
cas_mos.add(gdstk.Reference(m3_m2_cdns_7579811346519, (4.055,3.445)))
cas_mos.add(gdstk.Reference(m3_m2_cdns_7579811346519, (4.615,3.445)))
cas_mos.add(gdstk.Reference(m3_m2_cdns_7579811346519, (5.175,3.445)))
cas_mos.add(gdstk.Reference(m3_m2_cdns_7579811346519, (7.415,3.445)))
cas_mos.add(gdstk.Reference(m3_m2_cdns_7579811346519, (6.855,3.445)))
cas_mos.add(gdstk.Reference(m3_m2_cdns_7579811346519, (6.295,3.445)))
cas_mos.add(gdstk.Reference(m3_m2_cdns_7579811346519, (5.735,3.445)))
cas_mos.add(gdstk.Reference(m3_m2_cdns_7579811346519, (1.535,3.445)))
cas_mos.add(gdstk.Reference(m3_m2_cdns_7579811346519, (2.095,3.445)))
cas_mos.add(gdstk.Reference(m3_m2_cdns_7579811346519, (3.215,3.445)))
cas_mos.add(gdstk.Reference(m3_m2_cdns_7579811346519, (2.655,3.445)))
cas_mos.add(gdstk.Reference(m3_m2_cdns_7579811346519, (5.455,3.445)))
cas_mos.add(gdstk.Reference(m3_m2_cdns_7579811346519, (4.895,3.445)))
cas_mos.add(gdstk.Reference(m3_m2_cdns_7579811346519, (4.335,3.445)))
cas_mos.add(gdstk.Reference(m3_m2_cdns_7579811346519, (3.775,3.445)))
cas_mos.add(gdstk.Reference(m3_m2_cdns_7579811346519, (7.135,3.445)))
cas_mos.add(gdstk.Reference(m3_m2_cdns_7579811346519, (6.575,3.445)))
cas_mos.add(gdstk.Reference(m3_m2_cdns_7579811346519, (6.015,3.445)))
cas_mos.add(gdstk.Reference(m3_m2_cdns_7579811346519, (1.815,3.445)))
cas_mos.add(gdstk.Reference(m3_m2_cdns_7579811346519, (7.975,3.445)))
cas_mos.add(gdstk.Reference(m3_m2_cdns_7579811346519, (7.695,3.445)))
cas_mos.add(gdstk.Reference(m3_m2_cdns_7579811346519, (1.255,3.445)))
cas_mos.add(gdstk.Reference(m3_m2_cdns_7579811346519, (6.015,5.135)))
cas_mos.add(gdstk.Reference(m3_m2_cdns_7579811346519, (6.575,5.135)))
cas_mos.add(gdstk.Reference(m3_m2_cdns_7579811346519, (7.135,5.135)))
cas_mos.add(gdstk.Reference(m3_m2_cdns_7579811346519, (7.695,5.135)))
cas_mos.add(gdstk.Reference(m3_m2_cdns_7579811346519, (3.775,5.135)))
cas_mos.add(gdstk.Reference(m3_m2_cdns_7579811346519, (4.335,5.135)))
cas_mos.add(gdstk.Reference(m3_m2_cdns_7579811346519, (4.895,5.135)))
cas_mos.add(gdstk.Reference(m3_m2_cdns_7579811346519, (5.455,5.135)))
cas_mos.add(gdstk.Reference(m3_m2_cdns_7579811346519, (2.655,5.135)))
cas_mos.add(gdstk.Reference(m3_m2_cdns_7579811346519, (3.215,5.135)))
cas_mos.add(gdstk.Reference(m3_m2_cdns_7579811346519, (2.095,5.135)))
cas_mos.add(gdstk.Reference(m3_m2_cdns_7579811346519, (1.535,5.135)))
cas_mos.add(gdstk.Reference(m3_m2_cdns_7579811346519, (7.975,5.135)))
cas_mos.add(gdstk.Reference(m3_m2_cdns_7579811346519, (5.735,5.135)))
cas_mos.add(gdstk.Reference(m3_m2_cdns_7579811346519, (6.295,5.135)))
cas_mos.add(gdstk.Reference(m3_m2_cdns_7579811346519, (6.855,5.135)))
cas_mos.add(gdstk.Reference(m3_m2_cdns_7579811346519, (7.415,5.135)))
cas_mos.add(gdstk.Reference(m3_m2_cdns_7579811346519, (5.175,5.135)))
cas_mos.add(gdstk.Reference(m3_m2_cdns_7579811346519, (4.615,5.135)))
cas_mos.add(gdstk.Reference(m3_m2_cdns_7579811346519, (4.055,5.135)))
cas_mos.add(gdstk.Reference(m3_m2_cdns_7579811346519, (3.495,5.135)))
cas_mos.add(gdstk.Reference(m3_m2_cdns_7579811346519, (2.935,5.135)))
cas_mos.add(gdstk.Reference(m3_m2_cdns_7579811346519, (2.375,5.135)))
cas_mos.add(gdstk.Reference(m3_m2_cdns_7579811346519, (1.815,5.135)))
cas_mos.add(gdstk.Reference(m3_m2_cdns_7579811346519, (1.255,5.135)))
cas_mos.add(gdstk.Reference(m2_m1_cdns_7579811346520, (2.375,3.445)))
cas_mos.add(gdstk.Reference(m2_m1_cdns_7579811346520, (2.935,3.445)))
cas_mos.add(gdstk.Reference(m2_m1_cdns_7579811346520, (3.495,3.445)))
cas_mos.add(gdstk.Reference(m2_m1_cdns_7579811346520, (4.055,3.445)))
cas_mos.add(gdstk.Reference(m2_m1_cdns_7579811346520, (4.615,3.445)))
cas_mos.add(gdstk.Reference(m2_m1_cdns_7579811346520, (5.175,3.445)))
cas_mos.add(gdstk.Reference(m2_m1_cdns_7579811346520, (7.415,3.445)))
cas_mos.add(gdstk.Reference(m2_m1_cdns_7579811346520, (6.855,3.445)))
cas_mos.add(gdstk.Reference(m2_m1_cdns_7579811346520, (6.295,3.445)))
cas_mos.add(gdstk.Reference(m2_m1_cdns_7579811346520, (5.735,3.445)))
cas_mos.add(gdstk.Reference(m2_m1_cdns_7579811346520, (1.535,3.445)))
cas_mos.add(gdstk.Reference(m2_m1_cdns_7579811346520, (2.095,3.445)))
cas_mos.add(gdstk.Reference(m2_m1_cdns_7579811346520, (3.215,3.445)))
cas_mos.add(gdstk.Reference(m2_m1_cdns_7579811346520, (2.655,3.445)))
cas_mos.add(gdstk.Reference(m2_m1_cdns_7579811346520, (5.455,3.445)))
cas_mos.add(gdstk.Reference(m2_m1_cdns_7579811346520, (4.895,3.445)))
cas_mos.add(gdstk.Reference(m2_m1_cdns_7579811346520, (4.335,3.445)))
cas_mos.add(gdstk.Reference(m2_m1_cdns_7579811346520, (3.775,3.445)))
cas_mos.add(gdstk.Reference(m2_m1_cdns_7579811346520, (7.135,3.445)))
cas_mos.add(gdstk.Reference(m2_m1_cdns_7579811346520, (6.575,3.445)))
cas_mos.add(gdstk.Reference(m2_m1_cdns_7579811346520, (6.015,3.445)))
cas_mos.add(gdstk.Reference(m2_m1_cdns_7579811346520, (1.815,3.445)))
cas_mos.add(gdstk.Reference(m2_m1_cdns_7579811346520, (7.975,3.445)))
cas_mos.add(gdstk.Reference(m2_m1_cdns_7579811346520, (1.255,3.445)))
cas_mos.add(gdstk.Reference(m2_m1_cdns_7579811346520, (7.695,3.445)))
cas_mos.add(gdstk.Reference(m2_m1_cdns_7579811346520, (6.015,5.135)))
cas_mos.add(gdstk.Reference(m2_m1_cdns_7579811346520, (6.575,5.135)))
cas_mos.add(gdstk.Reference(m2_m1_cdns_7579811346520, (7.135,5.135)))
cas_mos.add(gdstk.Reference(m2_m1_cdns_7579811346520, (7.695,5.135)))
cas_mos.add(gdstk.Reference(m2_m1_cdns_7579811346520, (3.775,5.135)))
cas_mos.add(gdstk.Reference(m2_m1_cdns_7579811346520, (4.335,5.135)))
cas_mos.add(gdstk.Reference(m2_m1_cdns_7579811346520, (4.895,5.135)))
cas_mos.add(gdstk.Reference(m2_m1_cdns_7579811346520, (5.455,5.135)))
cas_mos.add(gdstk.Reference(m2_m1_cdns_7579811346520, (2.655,5.135)))
cas_mos.add(gdstk.Reference(m2_m1_cdns_7579811346520, (3.215,5.135)))
cas_mos.add(gdstk.Reference(m2_m1_cdns_7579811346520, (2.095,5.135)))
cas_mos.add(gdstk.Reference(m2_m1_cdns_7579811346520, (1.535,5.135)))
cas_mos.add(gdstk.Reference(m2_m1_cdns_7579811346520, (7.975,5.135)))
cas_mos.add(gdstk.Reference(m2_m1_cdns_7579811346520, (5.735,5.135)))
cas_mos.add(gdstk.Reference(m2_m1_cdns_7579811346520, (6.295,5.135)))
cas_mos.add(gdstk.Reference(m2_m1_cdns_7579811346520, (6.855,5.135)))
cas_mos.add(gdstk.Reference(m2_m1_cdns_7579811346520, (7.415,5.135)))
cas_mos.add(gdstk.Reference(m2_m1_cdns_7579811346520, (5.175,5.135)))
cas_mos.add(gdstk.Reference(m2_m1_cdns_7579811346520, (4.615,5.135)))
cas_mos.add(gdstk.Reference(m2_m1_cdns_7579811346520, (4.055,5.135)))
cas_mos.add(gdstk.Reference(m2_m1_cdns_7579811346520, (3.495,5.135)))
cas_mos.add(gdstk.Reference(m2_m1_cdns_7579811346520, (2.935,5.135)))
cas_mos.add(gdstk.Reference(m2_m1_cdns_7579811346520, (2.375,5.135)))
cas_mos.add(gdstk.Reference(m2_m1_cdns_7579811346520, (1.815,5.135)))
cas_mos.add(gdstk.Reference(m2_m1_cdns_7579811346520, (1.255,5.135)))
cas_mos.add(gdstk.Label('GND', (0.7,4.29), layer=131, texttype=0))
cas_mos.add(gdstk.Label('G2', (9.23,3.445), layer=133, texttype=0))
cas_mos.add(gdstk.Label('SS', (0,5.14), layer=137, texttype=0))
cas_mos.add(gdstk.Label('DD', (4.265,0), layer=139, texttype=0))
cas_mos.add(gdstk.Label('GG', (4.225,8.43), layer=139, texttype=0))

lib.write_gds('cas_mos.gds')
